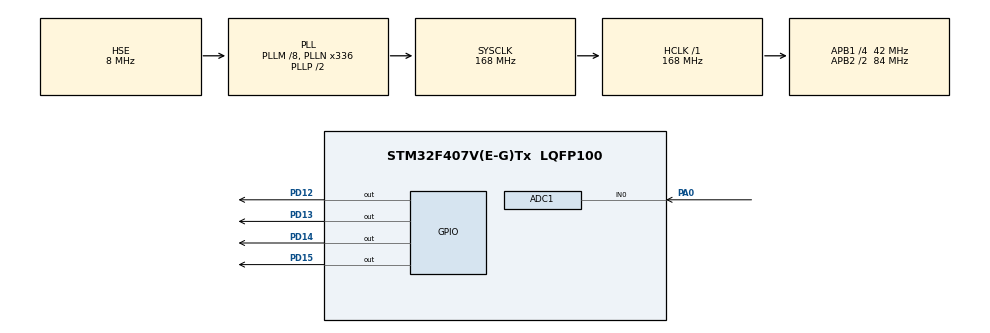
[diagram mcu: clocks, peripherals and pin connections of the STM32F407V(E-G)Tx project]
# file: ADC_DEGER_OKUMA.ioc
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ADC1.Channel-0\#ChannelRegularConversion=ADC_CHANNEL_0
ADC1.ContinuousConvMode=ENABLE
ADC1.NbrOfConversionFlag=1
ADC1.Rank-0\#ChannelRegularConversion=1
ADC1.Resolution=ADC_RESOLUTION_8B
ADC1.SamplingTime-0\#ChannelRegularConversion=ADC_SAMPLETIME_3CYCLES
ADC1.master=1
Mcu.Family=STM32F4
Mcu.Name=STM32F407V(E-G)Tx
Mcu.Package=LQFP100
NVIC.PriorityGroup=NVIC_PRIORITYGROUP_0
PA0-WKUP.Signal=ADCx_IN0
PD12.Signal=GPIO_Output
PD13.Signal=GPIO_Output
PD14.Signal=GPIO_Output
PD15.Signal=GPIO_Output
PH0-OSC_IN.Mode=HSE-External-Oscillator
PH0-OSC_IN.Signal=RCC_OSC_IN
PH1-OSC_OUT.Mode=HSE-External-Oscillator
PH1-OSC_OUT.Signal=RCC_OSC_OUT
ProjectManager.HeapSize=0x200
ProjectManager.StackSize=0x400
ProjectManager.TargetToolchain=STM32CubeIDE
RCC.48MHZClocksFreq_Value=48000000
RCC.AHBFreq_Value=168000000
RCC.APB1CLKDivider=RCC_HCLK_DIV4
RCC.APB1Freq_Value=42000000
RCC.APB1TimFreq_Value=84000000
RCC.APB2CLKDivider=RCC_HCLK_DIV2
RCC.APB2Freq_Value=84000000
RCC.APB2TimFreq_Value=168000000
RCC.CortexFreq_Value=168000000
RCC.HCLKFreq_Value=168000000
RCC.HSE_VALUE=8000000
RCC.HSI_VALUE=16000000
RCC.PLLM=8
RCC.PLLN=336
RCC.PLLQ=7
RCC.PLLSourceVirtual=RCC_PLLSOURCE_HSE
RCC.SYSCLKFreq_VALUE=168000000
RCC.SYSCLKSource=RCC_SYSCLKSOURCE_PLLCLK
RCC.VCOOutputFreq_Value=336000000
SH.ADCx_IN0.0=ADC1_IN0,IN0
board=STM32F407G-DISC1

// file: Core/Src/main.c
/* USER CODE BEGIN Header */
/**
  ******************************************************************************
  * @file           : main.c
  * @brief          : Main program body
  ******************************************************************************
  * @attention
  *
  * Copyright (c) 2022 STMicroelectronics.
  * All rights reserved.
  *
  * This software is licensed under terms that can be found in the LICENSE file
  * in the root directory of this software component.
  * If no LICENSE file comes with this software, it is provided AS-IS.
  *
  ******************************************************************************
  */
/* USER CODE END Header */
#include "main.h"

/* USER CODE BEGIN Includes */
uint16_t adc_value;
/* USER CODE END Includes */

ADC_HandleTypeDef hadc1;

void SystemClock_Config(void);
static void MX_GPIO_Init(void);
static void MX_ADC1_Init(void);

/* USER CODE BEGIN 0 */
void Read_ADC(){

	HAL_ADC_Start(&hadc1);

	if(HAL_ADC_PollForConversion(&hadc1,100000)==HAL_OK){
		adc_value = HAL_ADC_GetValue(&hadc1);
	}
	HAL_ADC_Stop(&hadc1);
}

/* USER CODE END 0 */

int main(void)
{

  /* MCU Configuration--------------------------------------------------------*/

  /* Reset of all peripherals, Initializes the Flash interface and the Systick. */
  HAL_Init();

  /* Configure the system clock */
  SystemClock_Config();

  /* Initialize all configured peripherals */
  MX_GPIO_Init();
  MX_ADC1_Init();

  /* Infinite loop */
  while (1)
  {

    /* USER CODE BEGIN 3 */
	  Read_ADC();

	  if(adc_value < 64){
		  HAL_GPIO_WritePin(GPIOD, GPIO_PIN_12,GPIO_PIN_SET);
		  HAL_GPIO_WritePin(GPIOD, GPIO_PIN_13,GPIO_PIN_RESET);
		  HAL_GPIO_WritePin(GPIOD, GPIO_PIN_14,GPIO_PIN_RESET);
		  HAL_GPIO_WritePin(GPIOD, GPIO_PIN_15,GPIO_PIN_RESET);

	  }
	  else if(adc_value < 128){

		  HAL_GPIO_WritePin(GPIOD, GPIO_PIN_13,GPIO_PIN_SET);
		  HAL_GPIO_WritePin(GPIOD, GPIO_PIN_14,GPIO_PIN_RESET);
		  HAL_GPIO_WritePin(GPIOD, GPIO_PIN_15,GPIO_PIN_RESET);
	  }
	  else if(adc_value < 192){

		  HAL_GPIO_WritePin(GPIOD, GPIO_PIN_14,GPIO_PIN_SET);
		  HAL_GPIO_WritePin(GPIOD, GPIO_PIN_15,GPIO_PIN_RESET);

	  }
	  else if(adc_value < 256){
		 HAL_GPIO_WritePin(GPIOD, GPIO_PIN_15,GPIO_PIN_SET);
	  }

  }
  /* USER CODE END 3 */
}

void SystemClock_Config(void)
{
  RCC_OscInitTypeDef RCC_OscInitStruct = {0};
  RCC_ClkInitTypeDef RCC_ClkInitStruct = {0};

  /** Configure the main internal regulator output voltage
  */
  __HAL_RCC_PWR_CLK_ENABLE();
  __HAL_PWR_VOLTAGESCALING_CONFIG(PWR_REGULATOR_VOLTAGE_SCALE1);

  /** Initializes the RCC Oscillators according to the specified parameters
  * in the RCC_OscInitTypeDef structure.
  */
  RCC_OscInitStruct.OscillatorType = RCC_OSCILLATORTYPE_HSE;
  RCC_OscInitStruct.HSEState = RCC_HSE_ON;
  RCC_OscInitStruct.PLL.PLLState = RCC_PLL_ON;
  RCC_OscInitStruct.PLL.PLLSource = RCC_PLLSOURCE_HSE;
  RCC_OscInitStruct.PLL.PLLM = 8;
  RCC_OscInitStruct.PLL.PLLN = 336;
  RCC_OscInitStruct.PLL.PLLP = RCC_PLLP_DIV2;
  RCC_OscInitStruct.PLL.PLLQ = 7;
  if (HAL_RCC_OscConfig(&RCC_OscInitStruct) != HAL_OK)
  {
    Error_Handler();
  }

  /** Initializes the CPU, AHB and APB buses clocks
  */
  RCC_ClkInitStruct.ClockType = RCC_CLOCKTYPE_HCLK|RCC_CLOCKTYPE_SYSCLK
                              |RCC_CLOCKTYPE_PCLK1|RCC_CLOCKTYPE_PCLK2;
  RCC_ClkInitStruct.SYSCLKSource = RCC_SYSCLKSOURCE_PLLCLK;
  RCC_ClkInitStruct.AHBCLKDivider = RCC_SYSCLK_DIV1;
  RCC_ClkInitStruct.APB1CLKDivider = RCC_HCLK_DIV4;
  RCC_ClkInitStruct.APB2CLKDivider = RCC_HCLK_DIV2;

  if (HAL_RCC_ClockConfig(&RCC_ClkInitStruct, FLASH_LATENCY_5) != HAL_OK)
  {
    Error_Handler();
  }
}

static void MX_ADC1_Init(void)
{

  ADC_ChannelConfTypeDef sConfig = {0};

  /** Configure the global features of the ADC (Clock, Resolution, Data Alignment and number of conversion)
  */
  hadc1.Instance = ADC1;
  hadc1.Init.ClockPrescaler = ADC_CLOCK_SYNC_PCLK_DIV4;
  hadc1.Init.Resolution = ADC_RESOLUTION_8B;
  hadc1.Init.ScanConvMode = DISABLE;
  hadc1.Init.ContinuousConvMode = ENABLE;
  hadc1.Init.DiscontinuousConvMode = DISABLE;
  hadc1.Init.ExternalTrigConvEdge = ADC_EXTERNALTRIGCONVEDGE_NONE;
  hadc1.Init.ExternalTrigConv = ADC_SOFTWARE_START;
  hadc1.Init.DataAlign = ADC_DATAALIGN_RIGHT;
  hadc1.Init.NbrOfConversion = 1;
  hadc1.Init.DMAContinuousRequests = DISABLE;
  hadc1.Init.EOCSelection = ADC_EOC_SINGLE_CONV;
  if (HAL_ADC_Init(&hadc1) != HAL_OK)
  {
    Error_Handler();
  }

  /** Configure for the selected ADC regular channel its corresponding rank in the sequencer and its sample time.
  */
  sConfig.Channel = ADC_CHANNEL_0;
  sConfig.Rank = 1;
  sConfig.SamplingTime = ADC_SAMPLETIME_3CYCLES;
  if (HAL_ADC_ConfigChannel(&hadc1, &sConfig) != HAL_OK)
  {
    Error_Handler();
  }

}

static void MX_GPIO_Init(void)
{
  GPIO_InitTypeDef GPIO_InitStruct = {0};

  /* GPIO Ports Clock Enable */
  __HAL_RCC_GPIOH_CLK_ENABLE();
  __HAL_RCC_GPIOA_CLK_ENABLE();
  __HAL_RCC_GPIOD_CLK_ENABLE();

  /*Configure GPIO pin Output Level */
  HAL_GPIO_WritePin(GPIOD, GPIO_PIN_12|GPIO_PIN_13|GPIO_PIN_14|GPIO_PIN_15, GPIO_PIN_RESET);

  /*Configure GPIO pins : PD12 PD13 PD14 PD15 */
  GPIO_InitStruct.Pin = GPIO_PIN_12|GPIO_PIN_13|GPIO_PIN_14|GPIO_PIN_15;
  GPIO_InitStruct.Mode = GPIO_MODE_OUTPUT_PP;
  GPIO_InitStruct.Pull = GPIO_NOPULL;
  GPIO_InitStruct.Speed = GPIO_SPEED_FREQ_LOW;
  HAL_GPIO_Init(GPIOD, &GPIO_InitStruct);

}

void Error_Handler(void)
{
  __disable_irq();
  while (1)
  {
  }
}
